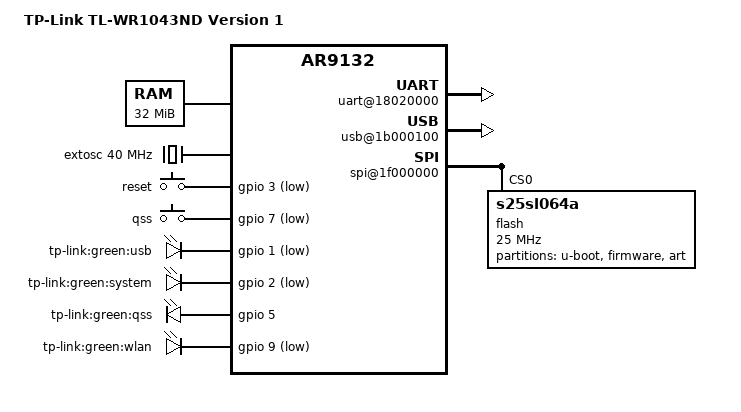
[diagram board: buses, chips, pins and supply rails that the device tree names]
/dts-v1/;

#include <dt-bindings/gpio/gpio.h>
#include <dt-bindings/input/input.h>

#include "ar9132.dtsi"

/ {
	compatible = "tplink,tl-wr1043nd-v1", "qca,ar9132";
	model = "TP-Link TL-WR1043ND Version 1";

	alias {
		serial0 = "/ahb/apb/uart@18020000";
	};

	memory@0 {
		device_type = "memory";
		reg = <0x0 0x2000000>;
	};

	extosc: ref {
		compatible = "fixed-clock";
		#clock-cells = <0>;
		clock-frequency = <40000000>;
	};

	ahb {
		apb {
			uart@18020000 {
				status = "okay";
			};

			pll-controller@18050000 {
				clocks = <&extosc>;
			};
		};

		usb@1b000100 {
			status = "okay";
		};

		spi@1f000000 {
			status = "okay";
			num-cs = <1>;

			flash@0 {
				#address-cells = <1>;
				#size-cells = <1>;
				compatible = "s25sl064a";
				reg = <0>;
				spi-max-frequency = <25000000>;

				partition@0 {
					label = "u-boot";
					reg = <0x000000 0x020000>;
				};

				partition@1 {
					label = "firmware";
					reg = <0x020000 0x7D0000>;
				};

				partition@2 {
					label = "art";
					reg = <0x7F0000 0x010000>;
					read-only;
				};
			};
		};
	};

	usb-phy {
		status = "okay";
	};

	gpio-keys {
		compatible = "gpio-keys-polled";
		#address-cells = <1>;
		#size-cells = <0>;

		poll-interval = <20>;
		button@0 {
			label = "reset";
			linux,code = <KEY_RESTART>;
			gpios = <&gpio 3 GPIO_ACTIVE_LOW>;
			debounce-interval = <60>;
		};

		button@1 {
			label = "qss";
			linux,code = <KEY_WPS_BUTTON>;
			gpios = <&gpio 7 GPIO_ACTIVE_LOW>;
			debounce-interval = <60>;
		};
	};

	leds {
		compatible = "gpio-leds";
		led@0 {
			label = "tp-link:green:usb";
			gpios = <&gpio 1 GPIO_ACTIVE_LOW>;
		};

		led@1 {
			label = "tp-link:green:system";
			gpios = <&gpio 2 GPIO_ACTIVE_LOW>;
			linux,default-trigger = "heartbeat";
		};

		led@2 {
			label = "tp-link:green:qss";
			gpios = <&gpio 5 GPIO_ACTIVE_HIGH>;
		};

		led@3 {
			label = "tp-link:green:wlan";
			gpios = <&gpio 9 GPIO_ACTIVE_LOW>;
		};
	};
};
